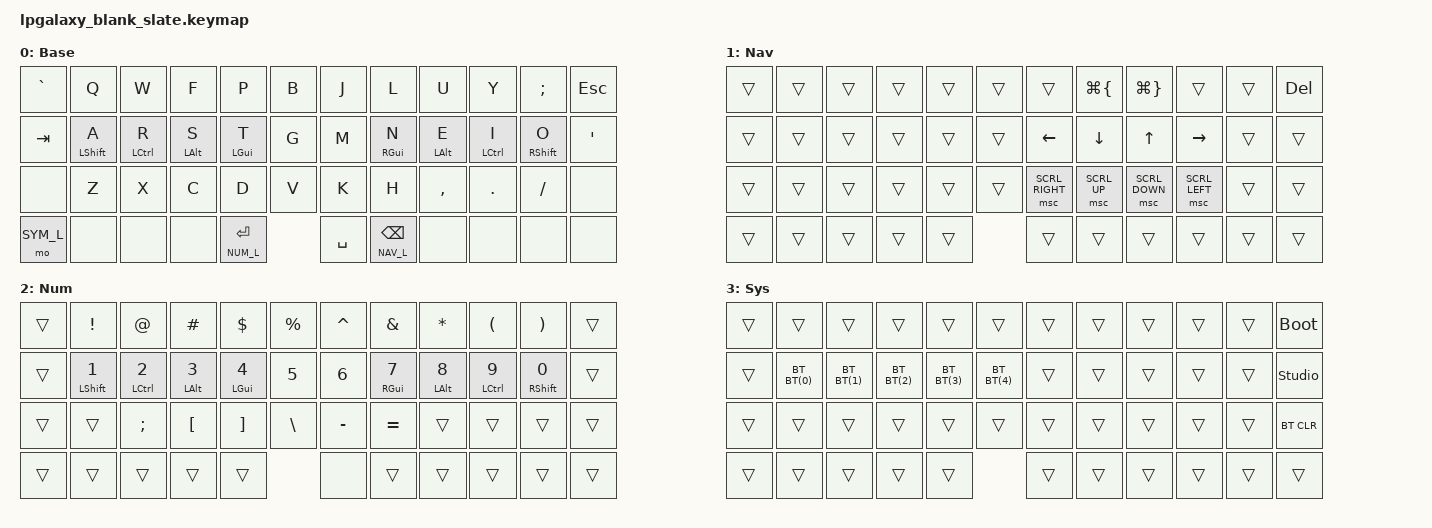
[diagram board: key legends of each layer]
/*
 * Copyright (c) 2022 Pete Johanson
 *
 * SPDX-License-Identifier: MIT
 */

#include <behaviors.dtsi>
#include <dt-bindings/zmk/keys.h>
#include <dt-bindings/zmk/bt.h>
#include <dt-bindings/zmk/outputs.h>
#include <dt-bindings/zmk/pointing.h>

#define NAV_L 1
#define NUM_L 2
#define SYM_L 3

// Using layer taps on thumbs, having quick tap as well helps w/ repeating space/backspace
&lt { quick_tap_ms = <200>; };

#define BT(n) BT_SEL n

/ {
    chosen {
       zmk,physical-layout = &layout_ortho_4x12_1x2u;
    };

    macros {
        ZMK_MACRO(thumbs_up,
            wait-ms = <1>;
            tap-ms = <5>;
            bindings = <&kp PLUS &kp COLON &kp PLUS &kp N1 &kp COLON &kp RET>;
        )
    };

    behaviors {
        hl: home_row_mod_left {
            compatible = "zmk,behavior-hold-tap";
            #binding-cells = <2>;
            flavor = "balanced";
            require-prior-idle-ms = <150>;
            tapping-term-ms = <200>;
            quick-tap-ms = <175>;
            bindings = <&kp>, <&kp>;
            hold-trigger-key-positions = < 13 14 15 16 >; // List of keys on the right side of the keyboard
            hold-trigger-on-release;
        };
        hr: home_row_mod_right {
            compatible = "zmk,behavior-hold-tap";
            #binding-cells = <2>;
            flavor = "balanced";
            require-prior-idle-ms = <150>;
            tapping-term-ms = <200>;
            quick-tap-ms = <175>;
            bindings = <&kp>, <&kp>;
            hold-trigger-key-positions = < 19 20 21 22 >; // List of keys on the left side of the keyboard
            hold-trigger-on-release;
        };
    };

    tap_dances {
        shifty: shift_caps_word {
            compatible = "zmk,behavior-tap-dance";
            label = "TD_SHIFTY";
            #binding-cells = <0>;
            tapping-term-ms = <150>;
            bindings = <&kp LSHFT>, <&caps_word>;
        };
    };

    keymap {
        compatible = "zmk,keymap";

        base_layer {
            label = "Base";
            bindings = <
&kp GRAVE  &kp Q       &kp W       &kp F      &kp P      &kp B      &kp J      &kp L      &kp U      &kp Y       &kp SEMI    &kp ESCAPE
&kp TAB    &hl LSHFT A &hl LCTRL R &hl LALT S &hl LGUI T &kp G      &kp M      &hr RGUI N &hr LALT E &hr LCTRL I &hr RSHFT O &kp QUOT
// &kp LSHFT  &kp Z       &kp X       &kp C      &kp D      &kp V      &kp K      &kp H      &kp COMMA  &kp DOT     &kp SLASH   &kp RSHFT
// &mo SYM_L  &kp LCTRL   &kp LALT    &kp LGUI   &lt NUM_L RET    &kp SPACE   &lt NAV_L BSPC &kp LEFT   &kp DOWN    &kp UP      &kp RIGHT
&none      &kp Z       &kp X       &kp C      &kp D      &kp V      &kp K      &kp H      &kp COMMA  &kp DOT     &kp SLASH   &none
&mo SYM_L  &none       &none       &none      &lt NUM_L RET    &kp SPACE   &lt NAV_L BSPC &none      &none       &none       &none
            >;
        };

        nav_layer {
            label = "Nav";
            bindings = <
&trans     &trans     &trans     &trans     &trans     &trans     &trans          &kp LG(LBRC)   &kp LG(RBRC)   &trans          &trans     &kp DEL
&trans     &trans     &trans     &trans     &trans     &trans     &kp LEFT        &kp DOWN       &kp UP         &kp RIGHT       &trans     &trans
&trans     &trans     &trans     &trans     &trans     &trans     &msc SCRL_RIGHT &msc SCRL_UP   &msc SCRL_DOWN &msc SCRL_LEFT  &trans     &trans
&trans  &trans        &trans     &trans     &trans            &trans              &trans         &trans         &trans          &trans     &trans
            >;
        };

        num_layer {
            label = "Num";
            bindings = <
&trans     &kp EXCL     &kp AT       &kp POUND   &kp DLLR    &kp PRCNT  &kp CARET  &kp AMPS    &kp STAR    &kp LPAR     &kp RPAR     &trans
&trans     &mt LSHFT N1 &mt LCTRL N2 &mt LALT N3 &mt LGUI N4 &kp N5     &kp N6     &mt RGUI N7 &mt LALT N8 &mt LCTRL N9 &mt RSHFT N0 &trans
&trans     &trans       &kp SEMI     &kp LBKT    &kp RBKT    &kp BSLH   &kp MINUS  &kp EQUAL   &trans      &trans       &trans       &trans
&trans     &trans       &trans       &trans      &trans           &none            &trans      &trans      &trans       &trans       &trans
            >;
        };

        sym_layer {
            label = "Sys";
            bindings = <
&trans     &trans     &trans     &trans     &trans     &trans     &trans     &trans     &trans     &trans     &trans     &bootloader
&trans     &bt BT(0)  &bt BT(1)  &bt BT(2)  &bt BT(3)  &bt BT(4)  &trans     &trans     &trans     &trans     &trans     &studio_unlock
&trans     &trans     &trans     &trans     &trans     &trans     &trans     &trans     &trans     &trans     &trans     &bt BT_CLR
&trans     &trans     &trans     &trans     &trans             &trans        &trans     &trans     &trans     &trans     &trans
            >;
        };
    };
};

